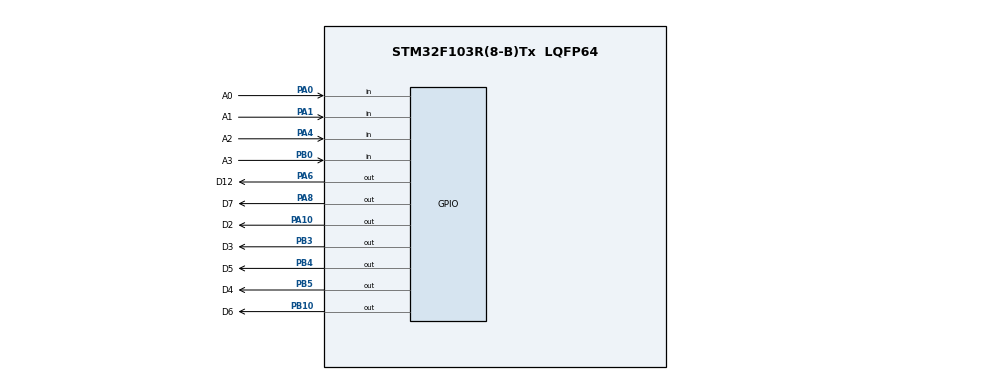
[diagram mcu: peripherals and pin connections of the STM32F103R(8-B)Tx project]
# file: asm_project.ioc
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Mcu.Family=STM32F1
Mcu.Name=STM32F103R(8-B)Tx
Mcu.Package=LQFP64
NVIC.PriorityGroup=NVIC_PRIORITYGROUP_4
NVIC.TIM3_IRQn=true\:0\:0\:false\:false\:true\:true\:true
PA0-WKUP.GPIO_Label=A0
PA0-WKUP.Signal=GPIO_Input
PA1.GPIO_Label=A1
PA1.Signal=GPIO_Input
PA10.GPIO_Label=D2
PA10.Signal=GPIO_Output
PA4.GPIO_Label=A2
PA4.Signal=GPIO_Input
PA6.GPIO_Label=D12
PA6.Signal=GPIO_Output
PA8.GPIO_Label=D7
PA8.Signal=GPIO_Output
PB0.GPIO_Label=A3
PB0.Signal=GPIO_Input
PB10.GPIO_Label=D6
PB10.Signal=GPIO_Output
PB3.GPIO_Label=D3
PB3.Signal=GPIO_Output
PB4.GPIO_Label=D5
PB4.Signal=GPIO_Output
PB5.GPIO_Label=D4
PB5.Signal=GPIO_Output
ProjectManager.HeapSize=0x200
ProjectManager.StackSize=0x400
ProjectManager.TargetToolchain=STM32CubeIDE
RCC.APB1Freq_Value=8000000
RCC.APB2Freq_Value=8000000
TIM3.Period=9
TIM3.Prescaler=63999
VP_SYS_VS_ND.Mode=No_Debug
VP_TIM3_VS_ClockSourceINT.Mode=Internal
board=custom

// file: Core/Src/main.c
/* USER CODE BEGIN Header */
/**
  ******************************************************************************
  * @file           : main.c
  * @brief          : Main program body
  ******************************************************************************
  * @attention
  *
  * <h2><center>&copy; Copyright (c) 2022 STMicroelectronics.
  * All rights reserved.</center></h2>
  *
  * This software component is licensed by ST under BSD 3-Clause license,
  * the "License"; You may not use this file except in compliance with the
  * License. You may obtain a copy of the License at:
  *                        opensource.org/licenses/BSD-3-Clause
  *
  ******************************************************************************
  */
/* USER CODE END Header */
#include "main.h"

/* USER CODE BEGIN Includes */
#include "global.h"
#include "auto_fsm.h"
#include "man_fsm.h"
#include "tun_fsm.h"
/* USER CODE END Includes */

TIM_HandleTypeDef htim3;

void SystemClock_Config(void);
static void MX_GPIO_Init(void);
static void MX_TIM3_Init(void);

/* USER CODE BEGIN 0 */
void Test_IO() {
	HAL_GPIO_WritePin(D2_GPIO_Port, D2_Pin,
			HAL_GPIO_ReadPin(A1_GPIO_Port, A1_Pin));
	HAL_GPIO_WritePin(D3_GPIO_Port, D3_Pin,
			HAL_GPIO_ReadPin(A2_GPIO_Port, A2_Pin));
	HAL_GPIO_WritePin(D4_GPIO_Port, D4_Pin,
			HAL_GPIO_ReadPin(A3_GPIO_Port, A3_Pin));
	HAL_GPIO_WritePin(D6_GPIO_Port, D6_Pin,
			HAL_GPIO_ReadPin(A0_GPIO_Port, A0_Pin));
}
/* USER CODE END 0 */

int main(void)
{

  /* MCU Configuration--------------------------------------------------------*/

  /* Reset of all peripherals, Initializes the Flash interface and the Systick. */
  HAL_Init();

  /* Configure the system clock */
  SystemClock_Config();

  /* Initialize all configured peripherals */
  MX_GPIO_Init();
  MX_TIM3_Init();
  /* USER CODE BEGIN 2 */
  HAL_TIM_Base_Init(&htim3);
  /* USER CODE END 2 */

  /* Infinite loop */
  /* USER CODE BEGIN WHILE */
  status = INIT;
  while (1)
  {
	  auto_fsm_run();
	  man_fsm_run();
	  tun_fsm_run();
	  HAL_Delay(10);
    /* USER CODE END WHILE */

  }
}

void SystemClock_Config(void)
{
  RCC_OscInitTypeDef RCC_OscInitStruct = {0};
  RCC_ClkInitTypeDef RCC_ClkInitStruct = {0};

  /** Initializes the RCC Oscillators according to the specified parameters
  * in the RCC_OscInitTypeDef structure.
  */
  RCC_OscInitStruct.OscillatorType = RCC_OSCILLATORTYPE_HSI;
  RCC_OscInitStruct.HSIState = RCC_HSI_ON;
  RCC_OscInitStruct.HSICalibrationValue = RCC_HSICALIBRATION_DEFAULT;
  RCC_OscInitStruct.PLL.PLLState = RCC_PLL_NONE;
  if (HAL_RCC_OscConfig(&RCC_OscInitStruct) != HAL_OK)
  {
    Error_Handler();
  }
  /** Initializes the CPU, AHB and APB buses clocks
  */
  RCC_ClkInitStruct.ClockType = RCC_CLOCKTYPE_HCLK|RCC_CLOCKTYPE_SYSCLK
                              |RCC_CLOCKTYPE_PCLK1|RCC_CLOCKTYPE_PCLK2;
  RCC_ClkInitStruct.SYSCLKSource = RCC_SYSCLKSOURCE_HSI;
  RCC_ClkInitStruct.AHBCLKDivider = RCC_SYSCLK_DIV1;
  RCC_ClkInitStruct.APB1CLKDivider = RCC_HCLK_DIV1;
  RCC_ClkInitStruct.APB2CLKDivider = RCC_HCLK_DIV1;

  if (HAL_RCC_ClockConfig(&RCC_ClkInitStruct, FLASH_LATENCY_0) != HAL_OK)
  {
    Error_Handler();
  }
}

static void MX_TIM3_Init(void)
{

  TIM_ClockConfigTypeDef sClockSourceConfig = {0};
  TIM_MasterConfigTypeDef sMasterConfig = {0};

  htim3.Instance = TIM3;
  htim3.Init.Prescaler = 63999;
  htim3.Init.CounterMode = TIM_COUNTERMODE_UP;
  htim3.Init.Period = 9;
  htim3.Init.ClockDivision = TIM_CLOCKDIVISION_DIV1;
  htim3.Init.AutoReloadPreload = TIM_AUTORELOAD_PRELOAD_DISABLE;
  if (HAL_TIM_Base_Init(&htim3) != HAL_OK)
  {
    Error_Handler();
  }
  sClockSourceConfig.ClockSource = TIM_CLOCKSOURCE_INTERNAL;
  if (HAL_TIM_ConfigClockSource(&htim3, &sClockSourceConfig) != HAL_OK)
  {
    Error_Handler();
  }
  sMasterConfig.MasterOutputTrigger = TIM_TRGO_RESET;
  sMasterConfig.MasterSlaveMode = TIM_MASTERSLAVEMODE_DISABLE;
  if (HAL_TIMEx_MasterConfigSynchronization(&htim3, &sMasterConfig) != HAL_OK)
  {
    Error_Handler();
  }

}

static void MX_GPIO_Init(void)
{
  GPIO_InitTypeDef GPIO_InitStruct = {0};

  /* GPIO Ports Clock Enable */
  __HAL_RCC_GPIOA_CLK_ENABLE();
  __HAL_RCC_GPIOB_CLK_ENABLE();

  /*Configure GPIO pin Output Level */
  HAL_GPIO_WritePin(GPIOA, D12_Pin|D7_Pin|D2_Pin, GPIO_PIN_RESET);

  /*Configure GPIO pin Output Level */
  HAL_GPIO_WritePin(GPIOB, D6_Pin|D3_Pin|D5_Pin|D4_Pin, GPIO_PIN_RESET);

  /*Configure GPIO pins : A0_Pin A1_Pin A2_Pin */
  GPIO_InitStruct.Pin = A0_Pin|A1_Pin|A2_Pin;
  GPIO_InitStruct.Mode = GPIO_MODE_INPUT;
  GPIO_InitStruct.Pull = GPIO_NOPULL;
  HAL_GPIO_Init(GPIOA, &GPIO_InitStruct);

  /*Configure GPIO pins : D12_Pin D7_Pin D2_Pin */
  GPIO_InitStruct.Pin = D12_Pin|D7_Pin|D2_Pin;
  GPIO_InitStruct.Mode = GPIO_MODE_OUTPUT_PP;
  GPIO_InitStruct.Pull = GPIO_NOPULL;
  GPIO_InitStruct.Speed = GPIO_SPEED_FREQ_LOW;
  HAL_GPIO_Init(GPIOA, &GPIO_InitStruct);

  /*Configure GPIO pin : A3_Pin */
  GPIO_InitStruct.Pin = A3_Pin;
  GPIO_InitStruct.Mode = GPIO_MODE_INPUT;
  GPIO_InitStruct.Pull = GPIO_NOPULL;
  HAL_GPIO_Init(A3_GPIO_Port, &GPIO_InitStruct);

  /*Configure GPIO pins : D6_Pin D3_Pin D5_Pin D4_Pin */
  GPIO_InitStruct.Pin = D6_Pin|D3_Pin|D5_Pin|D4_Pin;
  GPIO_InitStruct.Mode = GPIO_MODE_OUTPUT_PP;
  GPIO_InitStruct.Pull = GPIO_NOPULL;
  GPIO_InitStruct.Speed = GPIO_SPEED_FREQ_LOW;
  HAL_GPIO_Init(GPIOB, &GPIO_InitStruct);

}

/* USER CODE BEGIN 4 */
void HAL_TIM_PeriodElapsedCallback(TIM_HandleTypeDef *htim) {
	TimerRun();
	GetKeyInput1();
	GetKeyInput2();
	GetKeyInput3();
}
/* USER CODE END 4 */

void Error_Handler(void)
{
  __disable_irq();
  while (1)
  {
  }
}

/************************ (C) COPYRIGHT STMicroelectronics *****END OF FILE****/
